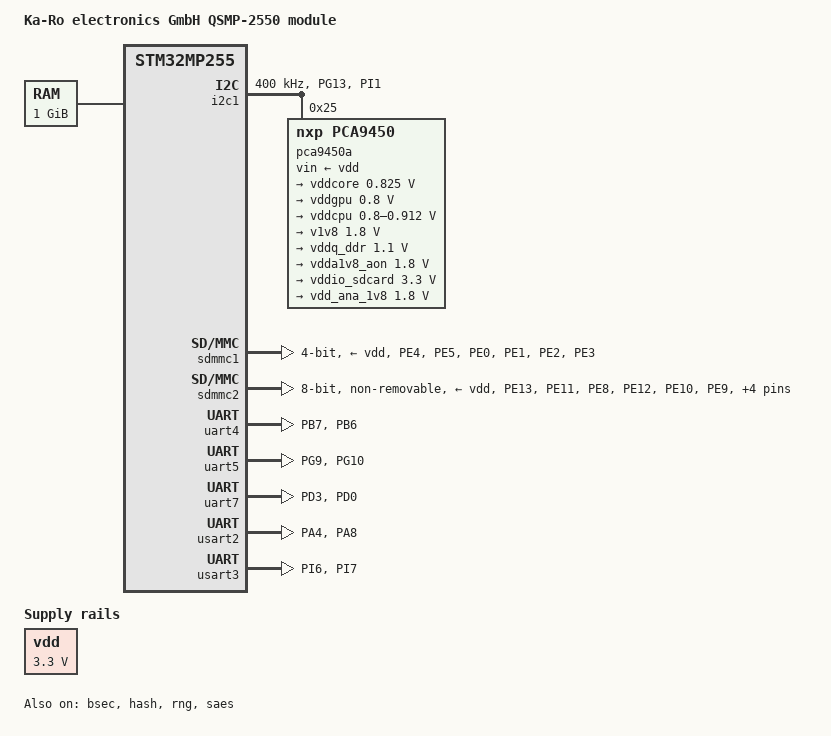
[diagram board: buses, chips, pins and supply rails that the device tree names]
// SPDX-License-Identifier: (GPL-2.0-or-later OR BSD-3-Clause)
/*
 * Copyright (C) 2024, STMicroelectronics - All Rights Reserved
 * Author: STM32CubeMX code generation for STMicroelectronics.
 */

/* For more information on Device Tree configuration, please refer to
 * https://wiki.st.com/stm32mpu/wiki/Category:Device_tree_configuration
 */

/dts-v1/;

#include <dt-bindings/pinctrl/stm32-pinfunc.h>
#include "stm32mp255.dtsi"
#include "stm32mp25xf.dtsi"
#include "stm32mp255f-qsmp-2550-rcc.dtsi"
#include "stm32mp255f-qsmp-ddr.h"
#include "stm32mp25-ddr.dtsi"
#include "stm32mp25xxak-pinctrl.dtsi"

/ {
	model = "Ka-Ro electronics GmbH QSMP-2550 module";
	compatible = "karo,stm32mp255f-qsmp-2550", "st,stm32mp255";

	aliases {
		serial0 = &uart4;
		serial1 = &usart3;
		serial2 = &uart5;
		serial3 = &usart2;
		serial4 = &uart7;
		serial5 = &uart8;
		i2c0 = &i2c1;
	};

	chosen {
		stdout-path = "serial0:115200n8";
	};

	memory@80000000 {
		device_type = "memory";
		reg = <0x00000000 0x80000000 0x00000000 0x40000000>;
	};

	vdd: vdd {
		compatible = "regulator-fixed";
		regulator-name = "vdd";
		regulator-min-microvolt = <3300000>;
		regulator-max-microvolt = <3300000>;
		regulator-always-on;
	};

	shadow-prov {
		compatible = "st,provisioning";

		hconf1_prov {
			nvmem-cells = <&hconf1_otp>;
			st,shadow-value = <0x00008006>;
		};
	};
};

&bsec {
	status = "okay";
};

&ddr {
	vdd1-supply = <&v1v8>;
	vdd2-supply = <&vddq_ddr>;
	vddq-supply = <&vddq_ddr>;
};

&hash {
	status = "okay";
};

&i2c1 {
	pinctrl-names = "default";
	pinctrl-0 = <&i2c1_pins>;
	i2c-scl-rising-time-ns = <185>;
	i2c-scl-falling-time-ns = <20>;
	clock-frequency = <400000>;
	status = "okay";

	pca9450a: pmic@25 {
		compatible = "nxp,pca9450";
		reg = <0x25>;
		vin-supply = <&vdd>;
		status = "okay";

		regulators {
			vddcore: buck1 {
				regulator-name = "vddcore";
				regulator-min-microvolt = <825000>;
				regulator-max-microvolt = <825000>;
				regulator-always-on;
			};

			vddgpu: buck2 {
				regulator-name = "vddgpu";
				regulator-min-microvolt = <800000>;
				regulator-max-microvolt = <800000>;
			};

			vddcpu: buck3 {
				regulator-name = "vddcpu";
				regulator-min-microvolt = <800000>;
				regulator-max-microvolt = <912500>;
				regulator-always-on;
			};

			v1v8: buck5 {
				regulator-name = "v1v8";
				regulator-min-microvolt = <1800000>;
				regulator-max-microvolt = <1800000>;
				regulator-always-on;
			};

			vddq_ddr: buck6 {
				regulator-name = "vddq_ddr";
				regulator-min-microvolt = <1100000>;
				regulator-max-microvolt = <1100000>;
				regulator-always-on;
			};

			vdda1v8_aon: ldo1 {
				regulator-name = "vdda1v8_aon";
				regulator-min-microvolt = <1800000>;
				regulator-max-microvolt = <1800000>;
				regulator-always-on;
			};

			vddio_sdcard: ldo3 {
				regulator-name = "vddio_sdcard";
				regulator-min-microvolt = <3300000>;
				regulator-max-microvolt = <3300000>;
				regulator-always-on;
			};

			vdd_ana_1v8: ldo4 {
				regulator-name = "vdd_ana_1v8";
				regulator-min-microvolt = <1800000>;
				regulator-max-microvolt = <1800000>;
				regulator-always-on;
			};
		};
	};
};

&pwr {
	st,lpcfg-d2 = <0>;
};

&rcc {
	status = "okay";
};

&rng {
	status = "okay";
};

&saes {
	status = "okay";
};

&sdmmc1 {
	pinctrl-names = "default";
	pinctrl-0 = <&sdmmc1_pins>;
	vmmc-supply = <&vdd>;
	vqmmc-supply = <&vddio1>;
	st,neg-edge;
	bus-width = <4>;
	status = "okay";
};

&sdmmc2 {
	pinctrl-names = "default";
	pinctrl-0 = <&sdmmc2_pins>;
	vmmc-supply = <&vdd>;
	vqmmc-supply = <&vddio2>;
	non-removable;
	no-sd;
	no-sdio;
	st,neg-edge;
	bus-width = <8>;
	status = "okay";
};

&uart4 {
	pinctrl-names = "default";
	pinctrl-0 = <&uart4_pins>;
	status = "okay";
};

&uart5 {
	pinctrl-names = "default";
	pinctrl-0 = <&uart5_pins>;
	status = "okay";
};

&uart7 {
	pinctrl-names = "default";
	pinctrl-0 = <&uart7_pins>;
	status = "okay";
};

&usart2 {
	pinctrl-names = "default";
	pinctrl-0 = <&usart2_pins>;
	status = "okay";
};

&usart3 {
	pinctrl-names = "default";
	pinctrl-0 = <&usart3_pins>;
	status = "okay";
};

&vddio1 {
	vddio1-supply = <&vddio_sdcard>;
};

&vddio2 {
	vddio2-supply = <&v1v8>;
};

&vddio3 {
	vddio3-supply = <&vdd>;
};

&vddio4 {
	vddio4-supply = <&vdd>;
};

&vddio {
	vdd-supply = <&vdd>;
};

&pinctrl {
	i2c1_pins: i2c1-pins {
		pins1 {
			pinmux = <STM32_PINMUX('G', 13, AF9)>, /* I2C1_SCL */
				 <STM32_PINMUX('I', 1, AF9)>; /* I2C1_SDA */
			bias-disable;
			drive-open-drain;
			slew-rate = <0>;
		};
	};

	sdmmc1_pins: sdmmc1-pins {
		pins1 {
			pinmux = <
				  STM32_PINMUX('E', 4, AF10) /* SDMMC1_D0 */
				  STM32_PINMUX('E', 5, AF10) /* SDMMC1_D1 */
				  STM32_PINMUX('E', 0, AF10) /* SDMMC1_D2 */
				  STM32_PINMUX('E', 1, AF10) /* SDMMC1_D3 */
				  STM32_PINMUX('E', 2, AF10) /* SDMMC1_CMD */
			>;
			bias-disable;
			drive-push-pull;
			slew-rate = <2>;
		};

		pins2 {
			pinmux = <STM32_PINMUX('E', 3, AF10)>; /* SDMMC1_CK */
			bias-disable;
			drive-push-pull;
			slew-rate = <3>;
		};
	};

	sdmmc2_pins: sdmmc2-pins {
		pins1 {
			pinmux = <
				  STM32_PINMUX('E', 13, AF12)	/* SDMMC2_D0 */
				  STM32_PINMUX('E', 11, AF12)	/* SDMMC2_D1 */
				  STM32_PINMUX('E', 8, AF12)	/* SDMMC2_D2 */
				  STM32_PINMUX('E', 12, AF12)	/* SDMMC2_D3 */
				  STM32_PINMUX('E', 10, AF12)	/* SDMMC2_D4 */
				  STM32_PINMUX('E', 9, AF12)	/* SDMMC2_D5 */
				  STM32_PINMUX('E', 6, AF12)	/* SDMMC2_D6 */
				  STM32_PINMUX('E', 7, AF12)	/* SDMMC2_D7 */
				  STM32_PINMUX('E', 15, AF12)	/* SDMMC2_CMD */
			>;
			bias-disable;
			drive-push-pull;
			slew-rate = <1>;
		};

		pins2 {
			pinmux = <STM32_PINMUX('E', 14, AF12)>; /* SDMMC2_CK */
			bias-disable;
			drive-push-pull;
			slew-rate = <3>;
		};
	};

	uart4_pins: uart4-pins {
		pins1 {
			pinmux = <STM32_PINMUX('B', 7, AF3)>; /* UART4_TX */
			bias-disable;
			drive-push-pull;
			slew-rate = <0>;
		};

		pins2 {
			pinmux = <STM32_PINMUX('B', 6, AF3)>; /* UART4_RX */
			bias-pull-up;
		};
	};

	uart5_pins: uart5-pins {
		pins1 {
			pinmux = <STM32_PINMUX('G', 9, AF5)>; /* UART5_TX */
			bias-disable;
			drive-push-pull;
			slew-rate = <0>;
		};

		pins2 {
			pinmux = <STM32_PINMUX('G', 10, AF5)>; /* UART5_RX */
			bias-pull-up;
		};
	};

	uart5_rtscts_pins: uart5-rtscts-pins {
		pins1 {
			pinmux = <STM32_PINMUX('G', 8, AF5)>; /* UART5_RTS */
			bias-disable;
			drive-push-pull;
			slew-rate = <0>;
		};

		pins2 {
			pinmux = <STM32_PINMUX('G', 1, AF5)>; /* UART5_CTS_NSS */
			bias-pull-up;
		};
	};

	uart7_pins: uart7-pins {
		pins1 {
			pinmux = <STM32_PINMUX('D', 3, AF6)>; /* UART7_TX */
			bias-disable;
			drive-push-pull;
			slew-rate = <0>;
		};

		pins2 {
			pinmux = <STM32_PINMUX('D', 0, AF6)>; /* UART7_RX */
			bias-pull-up;
		};
	};

	uart8_pins: uart8-pins {
		pins1 {
			pinmux = <STM32_PINMUX('G', 3, AF3)>; /* UART8_TX */
			bias-disable;
			drive-push-pull;
			slew-rate = <0>;
		};

		pins2 {
			pinmux = <STM32_PINMUX('F', 3, AF3)>; /* UART8_RX */
			bias-pull-up;
		};
	};

	usart2_pins: usart2-pins {
		pins1 {
			pinmux = <STM32_PINMUX('A', 4, AF6)>; /* USART2_TX */
			bias-disable;
			drive-push-pull;
			slew-rate = <0>;
		};

		pins2 {
			pinmux = <STM32_PINMUX('A', 8, AF8)>; /* USART2_RX */
			bias-pull-up;
		};
	};

	usart3_pins: usart3-pins {
		pins1 {
			pinmux = <STM32_PINMUX('I', 6, AF6)>; /* USART3_TX */
			bias-disable;
			drive-push-pull;
			slew-rate = <0>;
		};

		pins2 {
			pinmux = <STM32_PINMUX('I', 7, AF6)>; /* USART3_RX */
			bias-pull-up;
		};
	};
};
